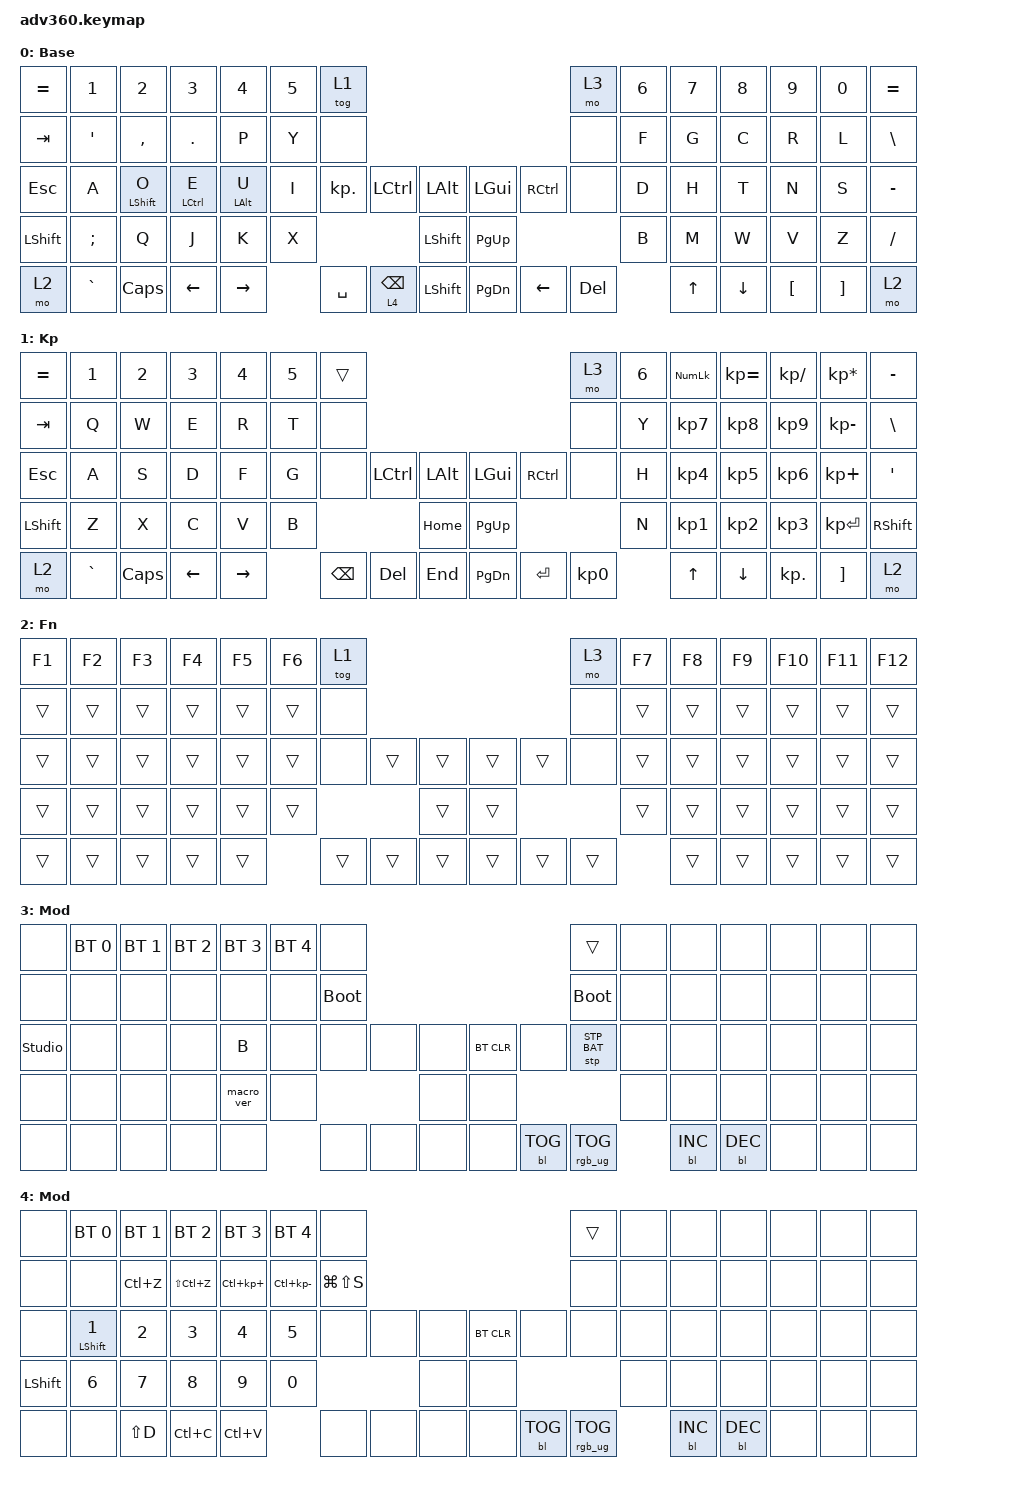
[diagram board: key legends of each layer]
#include <dt-bindings/zmk/stp.h>
#include <behaviors.dtsi>
#include <dt-bindings/zmk/backlight.h>
#include <dt-bindings/zmk/bt.h>
#include <dt-bindings/zmk/keys.h>
#include <dt-bindings/zmk/rgb.h>

/ {
    behaviors {
        #include "macros.dtsi"
      #include "version.dtsi"
      #ifndef VERSION_MACRO

        macro_ver: macro_ver {
            compatible = "zmk,behavior-macro";
            label = "macro_version";
            #binding-cells = <0>;
            bindings = <&kp RET>;
        };

        #endif

        hm: homerow_mods {
            compatible = "zmk,behavior-hold-tap";
            label = "HOMEROW_MODS";
            #binding-cells = <2>;
            tapping-term-ms = <200>;
            quick_tap_ms = <175>;
            flavor = "tap-preferred";
            bindings = <&kp>, <&kp>;
        };

        holdalt: holdalt {
            compatible = "zmk,behavior-hold-tap";
            label = "HOLDALT";
            bindings = <&kp>, <&kp>;

            #binding-cells = <2>;
            tapping-term-ms = <175>;
            quick-tap-ms = <175>;
            require-prior-idle-ms = <125>;
            flavor = "tap-preferred";
        };

        holdbackspace: holdbackspace {
            compatible = "zmk,behavior-hold-tap";
            label = "HOLDBACKSPACE";
            bindings = <&mo>, <&kp>;

            #binding-cells = <2>;
            tapping-term-ms = <200>;
            quick-tap-ms = <200>;
            require-prior-idle-ms = <125>;
            flavor = "tap-preferred";
            hold-trigger-key-positions = <66>;
        };
    };

    macros {
    };

    combos {
        compatible = "zmk,combos";

        enter {
            bindings = <&kp ENTER>;
            key-positions = <31 32>;
        };

        lll {
            bindings = <&kp L>;
            key-positions = <47 50>;
            require-prior-idle-ms = <125>;
            layers = <0>;
            timeout-ms = <185>;
        };

        sss {
            bindings = <&kp S>;
            key-positions = <47 48>;
            require-prior-idle-ms = <125>;
            layers = <0>;
            timeout-ms = <185>;
        };

        hhh {
            bindings = <&kp H>;
            key-positions = <17 32>;
            require-prior-idle-ms = <125>;
            layers = <0>;
            timeout-ms = <185>;
        };

        www {
            bindings = <&kp W>;
            key-positions = <29 30>;
            require-prior-idle-ms = <125>;
            layers = <0>;
            timeout-ms = <185>;
        };

        fff {
            bindings = <&kp F>;
            key-positions = <30 17>;
            require-prior-idle-ms = <125>;
            layers = <0>;
            timeout-ms = <185>;
        };

        zzz {
            bindings = <&kp Z>;
            key-positions = <31 50>;
            require-prior-idle-ms = <125>;
            layers = <0>;
            timeout-ms = <185>;
        };

        rrr {
            bindings = <&kp R>;
            key-positions = <49 48>;
            require-prior-idle-ms = <125>;
            layers = <0>;
            timeout-ms = <185>;
        };

        ggg {
            bindings = <&kp G>;
            key-positions = <33 31>;
            require-prior-idle-ms = <125>;
            layers = <0>;
            timeout-ms = <185>;
        };

        mmm {
            bindings = <&kp M>;
            key-positions = <32 29>;
            require-prior-idle-ms = <125>;
            layers = <0>;
            timeout-ms = <185>;
        };

        nnn {
            bindings = <&kp N>;
            key-positions = <16 17>;
            require-prior-idle-ms = <125>;
            layers = <0>;
            timeout-ms = <185>;
        };

        ttt {
            bindings = <&kp T>;
            key-positions = <49 50>;
            require-prior-idle-ms = <125>;
            layers = <0>;
            timeout-ms = <185>;
        };

        vvv {
            bindings = <&kp V>;
            key-positions = <33 29>;
            require-prior-idle-ms = <125>;
            layers = <0>;
            timeout-ms = <185>;
        };

        ddd {
            bindings = <&kp D>;
            key-positions = <17 18>;
            require-prior-idle-ms = <125>;
            layers = <0>;
            timeout-ms = <185>;
        };

        ccc {
            bindings = <&kp C>;
            key-positions = <30 32>;
            require-prior-idle-ms = <125>;
            layers = <0>;
            timeout-ms = <185>;
        };

        bbb {
            bindings = <&kp B>;
            key-positions = <33 30>;
        };
    };

    keymap {
        compatible = "zmk,keymap";

        default_layer {
            display-name = "Base";
            bindings = <
&kp EQUAL  &kp N1         &kp N2                 &kp N3            &kp N4               &kp N5  &tog 1                                                                            &mo 3       &kp N6  &kp N7  &kp N8    &kp N9    &kp N0    &kp EQUAL
&kp TAB    &kp SQT        &kp COMMA              &kp PERIOD        &kp P                &kp Y   &none                                                                             &none       &kp F   &kp G   &kp C     &kp R     &kp L     &kp BSLH
&kp ESC    &kp A          &holdalt LEFT_SHIFT O  &holdalt LCTRL E  &holdalt LEFT_ALT U  &kp I   &kp KP_DOT  &kp LCTRL                   &kp LALT       &kp LGUI   &kp RCTRL       &none       &kp D   &kp H   &kp T     &kp N     &kp S     &kp MINUS
&kp LSHFT  &kp SEMICOLON  &kp Q                  &kp J             &kp K                &kp X                                           &kp LSHFT      &kp PG_UP                              &kp B   &kp M   &kp W     &kp V     &kp Z     &kp SLASH
&mo 2      &kp GRAVE      &kp CAPS               &kp LEFT          &kp RIGHT                    &kp SPACE   &holdbackspace 4 BACKSPACE  &kp LSHFT      &kp PG_DN  &kp LEFT_ARROW  &kp DELETE          &kp UP  &kp DOWN  &kp LBKT  &kp RBKT  &mo 2
            >;
        };

        keypad {
            display-name = "Kp";
            bindings = <
&kp EQUAL  &kp N1     &kp N2    &kp N3    &kp N4     &kp N5  &trans                                                   &mo 3      &kp N6  &kp KP_NUM  &kp KP_EQUAL  &kp KP_DIVIDE  &kp KP_MULTIPLY  &kp MINUS
&kp TAB    &kp Q      &kp W     &kp E     &kp R      &kp T   &none                                                    &none      &kp Y   &kp KP_N7   &kp KP_N8     &kp KP_N9      &kp KP_MINUS     &kp BSLH
&kp ESC    &kp A      &kp S     &kp D     &kp F      &kp G   &none     &kp LCTRL  &kp LALT      &kp LGUI   &kp RCTRL  &none      &kp H   &kp KP_N4   &kp KP_N5     &kp KP_N6      &kp KP_PLUS      &kp SQT
&kp LSHFT  &kp Z      &kp X     &kp C     &kp V      &kp B                        &kp HOME      &kp PG_UP                        &kp N   &kp KP_N1   &kp KP_N2     &kp KP_N3      &kp KP_ENTER     &kp RSHFT
&mo 2      &kp GRAVE  &kp CAPS  &kp LEFT  &kp RIGHT          &kp BSPC  &kp DEL    &kp END       &kp PG_DN  &kp ENTER  &kp KP_N0          &kp UP      &kp DOWN      &kp KP_DOT     &kp RBKT         &mo 2
            >;
        };

        fn {
            display-name = "Fn";
            bindings = <
&kp F1  &kp F2  &kp F3  &kp F4  &kp F5  &kp F6  &tog 1                                      &mo 3   &kp F7  &kp F8  &kp F9  &kp F10  &kp F11  &kp F12
&trans  &trans  &trans  &trans  &trans  &trans  &none                                       &none   &trans  &trans  &trans  &trans   &trans   &trans
&trans  &trans  &trans  &trans  &trans  &trans  &none   &trans  &trans      &trans  &trans  &none   &trans  &trans  &trans  &trans   &trans   &trans
&trans  &trans  &trans  &trans  &trans  &trans                  &trans      &trans                  &trans  &trans  &trans  &trans   &trans   &trans
&trans  &trans  &trans  &trans  &trans          &trans  &trans  &trans      &trans  &trans  &trans          &trans  &trans  &trans   &trans   &trans
            >;
        };

        mod {
            display-name = "Mod";
            bindings = <
&none           &bt BT_SEL 0  &bt BT_SEL 1  &bt BT_SEL 2  &bt BT_SEL 3  &bt BT_SEL 4  &none                                                  &trans           &none  &none       &none       &none  &none  &none
&none           &none         &none         &none         &none         &none         &bootloader                                            &bootloader      &none  &none       &none       &none  &none  &none
&studio_unlock  &none         &none         &none         &kp B         &none         &none        &none  &none      &bt BT_CLR  &none       &stp STP_BAT     &none  &none       &none       &none  &none  &none
&none           &none         &none         &none         &macro_ver    &none                             &none      &none                                    &none  &none       &none       &none  &none  &none
&none           &none         &none         &none         &none                       &none        &none  &none      &none       &bl BL_TOG  &rgb_ug RGB_TOG         &bl BL_INC  &bl BL_DEC  &none  &none  &none
            >;
        };

        layer_8 {
            display-name = "Mod";
            bindings = <
&none           &bt BT_SEL 0                  &bt BT_SEL 1  &bt BT_SEL 2   &bt BT_SEL 3     &bt BT_SEL 4      &none                                                    &trans           &none  &none       &none       &none  &none  &none
&none           &none                         &kp LC(Z)     &kp LS(LC(Z))  &kp LC(KP_PLUS)  &kp LC(KP_MINUS)  &kp LG(LS(S))                                            &none            &none  &none       &none       &none  &none  &none
&none           &holdalt LEFT_SHIFT NUMBER_1  &kp NUMBER_2  &kp NUMBER_3   &kp NUMBER_4     &kp NUMBER_5      &none          &none  &none      &bt BT_CLR  &none       &none            &none  &none       &none       &none  &none  &none
&kp LEFT_SHIFT  &kp NUMBER_6                  &kp NUMBER_7  &kp NUMBER_8   &kp NUMBER_9     &kp NUMBER_0                            &none      &none                                    &none  &none       &none       &none  &none  &none
&none           &none                         &kp LS(D)     &kp LC(C)      &kp LC(V)                          &none          &none  &none      &none       &bl BL_TOG  &rgb_ug RGB_TOG         &bl BL_INC  &bl BL_DEC  &none  &none  &none
            >;
        };

        extra1 {
            display-name = "Red";
            status = "reserved";
        };

        extra2 {
            display-name = "Purple";
            status = "reserved";
        };

        extra3 {
            display-name = "Cyan";
            status = "reserved";
        };

        extra4 {
            display-name = "Yellow";
            status = "reserved";
        };
    };
};
